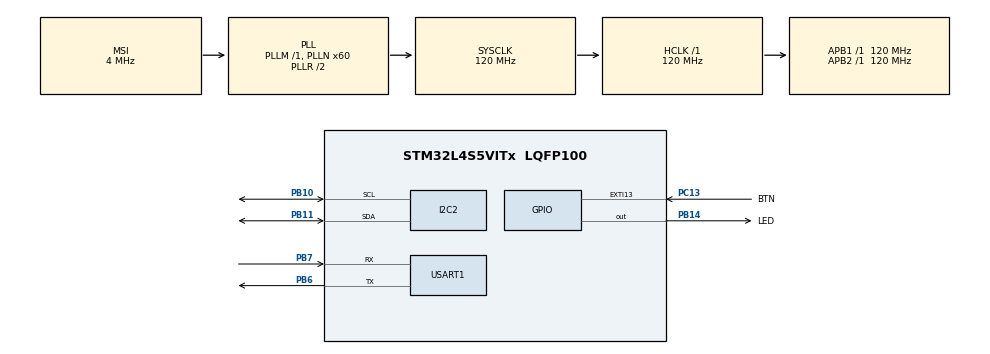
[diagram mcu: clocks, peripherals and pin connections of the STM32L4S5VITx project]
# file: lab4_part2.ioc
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FREERTOS.Tasks01=AlternateSensor,0,128,StartAlternateSensor,Default,NULL,Dynamic,NULL,NULL;TransmitData,-3,128,StartTransmitData,Default,NULL,Dynamic,NULL,NULL;ReadSensorData,-3,128,StartReadSensorData,Default,NULL,Dynamic,NULL,NULL
I2C2.Timing=0x30A175AB
Mcu.Family=STM32L4
Mcu.Name=STM32L4S5VITx
Mcu.Package=LQFP100
NVIC.EXTI15_10_IRQn=true\:5\:0\:false\:false\:true\:true\:true\:true\:true
NVIC.PriorityGroup=NVIC_PRIORITYGROUP_4
NVIC.TIM6_DAC_IRQn=true\:15\:0\:false\:false\:true\:false\:false\:true\:true
NVIC.TimeBase=TIM6_DAC_IRQn
NVIC.TimeBaseIP=TIM6
PB10.Mode=I2C
PB10.Signal=I2C2_SCL
PB11.Mode=I2C
PB11.Signal=I2C2_SDA
PB14.GPIO_Label=LED
PB14.Signal=GPIO_Output
PB6.Mode=Asynchronous
PB6.Signal=USART1_TX
PB7.Mode=Asynchronous
PB7.Signal=USART1_RX
PC13.GPIO_Label=BTN
PC13.Signal=GPXTI13
ProjectManager.HeapSize=0x200
ProjectManager.StackSize=0x400
ProjectManager.TargetToolchain=STM32CubeIDE
RCC.ADCFreq_Value=48000000
RCC.AHBFreq_Value=120000000
RCC.APB1Freq_Value=120000000
RCC.APB1TimFreq_Value=120000000
RCC.APB2Freq_Value=120000000
RCC.APB2TimFreq_Value=120000000
RCC.CortexFreq_Value=120000000
RCC.HCLKFreq_Value=120000000
RCC.HSE_VALUE=8000000
RCC.HSI48_VALUE=48000000
RCC.HSI_VALUE=16000000
RCC.LSE_VALUE=32768
RCC.MSI_VALUE=4000000
RCC.PLLN=60
RCC.PLLSAI1N=24
RCC.SYSCLKFreq_VALUE=120000000
RCC.SYSCLKSource=RCC_SYSCLKSOURCE_PLLCLK
RCC.USBFreq_Value=48000000
RCC.VCOOutputFreq_Value=240000000
USART1.VirtualMode-Asynchronous=VM_ASYNC
VP_FREERTOS_VS_CMSIS_V1.Mode=CMSIS_V1
VP_SYS_VS_tim6.Mode=TIM6
board=B-L4S5I-IOT01A

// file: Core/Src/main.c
/* USER CODE BEGIN Header */
/**
  ******************************************************************************
  * @file           : main.c
  * @brief          : Main program body
  ******************************************************************************
  * @attention
  *
  * Copyright (c) 2025 STMicroelectronics.
  * All rights reserved.
  *
  * This software is licensed under terms that can be found in the LICENSE file
  * in the root directory of this software component.
  * If no LICENSE file comes with this software, it is provided AS-IS.
  *
  ******************************************************************************
  */
/* USER CODE END Header */
#include "main.h"
#include "cmsis_os.h"

/* USER CODE BEGIN Includes */
#include "stm32l4s5i_iot01_hsensor.h"
#include "stm32l4s5i_iot01_magneto.h"
#include "stm32l4s5i_iot01_psensor.h"
#include "stm32l4s5i_iot01_accelero.h"
#include <stdio.h>
#include <string.h>
/* USER CODE END Includes */

/* USER CODE BEGIN PD */
#define ERRNO 1

/* USER CODE END PD */

I2C_HandleTypeDef hi2c2;

UART_HandleTypeDef huart1;

osThreadId AlternateSensorHandle;
osThreadId TransmitDataHandle;
osThreadId ReadSensorDataHandle;
/* USER CODE BEGIN PV */
char buffer[100];
int16_t magnetoXYZ[3];
int16_t acceleroXYZ[3];
volatile uint8_t sensorIndex = 0;

/* USER CODE END PV */

void SystemClock_Config(void);
static void MX_GPIO_Init(void);
static void MX_I2C2_Init(void);
static void MX_USART1_UART_Init(void);
void StartAlternateSensor(void const * argument);
void StartTransmitData(void const * argument);
void StartReadSensorData(void const * argument);

/* USER CODE BEGIN 0 */

//void HAL_GPIO_EXTI_Callback(uint16_t GPIO_Pin) {
//	if (GPIO_Pin != BTN_Pin) {
//		__NOP();
//	}
//
//	sensorIndex = (sensorIndex + 1) % 4;
//}

/* USER CODE END 0 */

int main(void)
{

  /* MCU Configuration--------------------------------------------------------*/

  /* Reset of all peripherals, Initializes the Flash interface and the Systick. */
  HAL_Init();

  /* Configure the system clock */
  SystemClock_Config();

  /* Initialize all configured peripherals */
  MX_GPIO_Init();
  MX_I2C2_Init();
  MX_USART1_UART_Init();
  /* USER CODE BEGIN 2 */
  if (BSP_HSENSOR_Init() != 0)  return ERRNO;

  if (BSP_MAGNETO_Init() != 0)  return ERRNO;

  if (BSP_PSENSOR_Init() != 0)  return ERRNO;

  if (BSP_ACCELERO_Init() != 0) return ERRNO;

//  HAL_TIM_Base_Start_IT(&htim2);
  /* USER CODE END 2 */

  /* Create the thread(s) */
  /* definition and creation of AlternateSensor */
  osThreadDef(AlternateSensor, StartAlternateSensor, osPriorityNormal, 0, 128);
  AlternateSensorHandle = osThreadCreate(osThread(AlternateSensor), NULL);

  /* definition and creation of TransmitData */
  osThreadDef(TransmitData, StartTransmitData, osPriorityIdle, 0, 128);
  TransmitDataHandle = osThreadCreate(osThread(TransmitData), NULL);

  /* definition and creation of ReadSensorData */
  osThreadDef(ReadSensorData, StartReadSensorData, osPriorityIdle, 0, 128);
  ReadSensorDataHandle = osThreadCreate(osThread(ReadSensorData), NULL);

  /* Start scheduler */
  osKernelStart();

  /* We should never get here as control is now taken by the scheduler */

  /* Infinite loop */
  while (1)
  {

  }
}

void SystemClock_Config(void)
{
  RCC_OscInitTypeDef RCC_OscInitStruct = {0};
  RCC_ClkInitTypeDef RCC_ClkInitStruct = {0};

  /** Configure the main internal regulator output voltage
  */
  if (HAL_PWREx_ControlVoltageScaling(PWR_REGULATOR_VOLTAGE_SCALE1_BOOST) != HAL_OK)
  {
    Error_Handler();
  }

  /** Initializes the RCC Oscillators according to the specified parameters
  * in the RCC_OscInitTypeDef structure.
  */
  RCC_OscInitStruct.OscillatorType = RCC_OSCILLATORTYPE_MSI;
  RCC_OscInitStruct.MSIState = RCC_MSI_ON;
  RCC_OscInitStruct.MSICalibrationValue = 0;
  RCC_OscInitStruct.MSIClockRange = RCC_MSIRANGE_6;
  RCC_OscInitStruct.PLL.PLLState = RCC_PLL_ON;
  RCC_OscInitStruct.PLL.PLLSource = RCC_PLLSOURCE_MSI;
  RCC_OscInitStruct.PLL.PLLM = 1;
  RCC_OscInitStruct.PLL.PLLN = 60;
  RCC_OscInitStruct.PLL.PLLP = RCC_PLLP_DIV2;
  RCC_OscInitStruct.PLL.PLLQ = RCC_PLLQ_DIV2;
  RCC_OscInitStruct.PLL.PLLR = RCC_PLLR_DIV2;
  if (HAL_RCC_OscConfig(&RCC_OscInitStruct) != HAL_OK)
  {
    Error_Handler();
  }

  /** Initializes the CPU, AHB and APB buses clocks
  */
  RCC_ClkInitStruct.ClockType = RCC_CLOCKTYPE_HCLK|RCC_CLOCKTYPE_SYSCLK
                              |RCC_CLOCKTYPE_PCLK1|RCC_CLOCKTYPE_PCLK2;
  RCC_ClkInitStruct.SYSCLKSource = RCC_SYSCLKSOURCE_PLLCLK;
  RCC_ClkInitStruct.AHBCLKDivider = RCC_SYSCLK_DIV1;
  RCC_ClkInitStruct.APB1CLKDivider = RCC_HCLK_DIV1;
  RCC_ClkInitStruct.APB2CLKDivider = RCC_HCLK_DIV1;

  if (HAL_RCC_ClockConfig(&RCC_ClkInitStruct, FLASH_LATENCY_5) != HAL_OK)
  {
    Error_Handler();
  }
}

static void MX_I2C2_Init(void)
{

  hi2c2.Instance = I2C2;
  hi2c2.Init.Timing = 0x30A175AB;
  hi2c2.Init.OwnAddress1 = 0;
  hi2c2.Init.AddressingMode = I2C_ADDRESSINGMODE_7BIT;
  hi2c2.Init.DualAddressMode = I2C_DUALADDRESS_DISABLE;
  hi2c2.Init.OwnAddress2 = 0;
  hi2c2.Init.OwnAddress2Masks = I2C_OA2_NOMASK;
  hi2c2.Init.GeneralCallMode = I2C_GENERALCALL_DISABLE;
  hi2c2.Init.NoStretchMode = I2C_NOSTRETCH_DISABLE;
  if (HAL_I2C_Init(&hi2c2) != HAL_OK)
  {
    Error_Handler();
  }

  /** Configure Analogue filter
  */
  if (HAL_I2CEx_ConfigAnalogFilter(&hi2c2, I2C_ANALOGFILTER_ENABLE) != HAL_OK)
  {
    Error_Handler();
  }

  /** Configure Digital filter
  */
  if (HAL_I2CEx_ConfigDigitalFilter(&hi2c2, 0) != HAL_OK)
  {
    Error_Handler();
  }

}

static void MX_USART1_UART_Init(void)
{

  huart1.Instance = USART1;
  huart1.Init.BaudRate = 115200;
  huart1.Init.WordLength = UART_WORDLENGTH_8B;
  huart1.Init.StopBits = UART_STOPBITS_1;
  huart1.Init.Parity = UART_PARITY_NONE;
  huart1.Init.Mode = UART_MODE_TX_RX;
  huart1.Init.HwFlowCtl = UART_HWCONTROL_NONE;
  huart1.Init.OverSampling = UART_OVERSAMPLING_16;
  huart1.Init.OneBitSampling = UART_ONE_BIT_SAMPLE_DISABLE;
  huart1.Init.ClockPrescaler = UART_PRESCALER_DIV1;
  huart1.AdvancedInit.AdvFeatureInit = UART_ADVFEATURE_NO_INIT;
  if (HAL_UART_Init(&huart1) != HAL_OK)
  {
    Error_Handler();
  }
  if (HAL_UARTEx_SetTxFifoThreshold(&huart1, UART_TXFIFO_THRESHOLD_1_8) != HAL_OK)
  {
    Error_Handler();
  }
  if (HAL_UARTEx_SetRxFifoThreshold(&huart1, UART_RXFIFO_THRESHOLD_1_8) != HAL_OK)
  {
    Error_Handler();
  }
  if (HAL_UARTEx_DisableFifoMode(&huart1) != HAL_OK)
  {
    Error_Handler();
  }

}

static void MX_GPIO_Init(void)
{
  GPIO_InitTypeDef GPIO_InitStruct = {0};

  /* GPIO Ports Clock Enable */
  __HAL_RCC_GPIOC_CLK_ENABLE();
  __HAL_RCC_GPIOB_CLK_ENABLE();

  /*Configure GPIO pin Output Level */
  HAL_GPIO_WritePin(LED_GPIO_Port, LED_Pin, GPIO_PIN_RESET);

  /*Configure GPIO pin : BTN_Pin */
  GPIO_InitStruct.Pin = BTN_Pin;
  GPIO_InitStruct.Mode = GPIO_MODE_IT_RISING;
  GPIO_InitStruct.Pull = GPIO_NOPULL;
  HAL_GPIO_Init(BTN_GPIO_Port, &GPIO_InitStruct);

  /*Configure GPIO pin : LED_Pin */
  GPIO_InitStruct.Pin = LED_Pin;
  GPIO_InitStruct.Mode = GPIO_MODE_OUTPUT_PP;
  GPIO_InitStruct.Pull = GPIO_NOPULL;
  GPIO_InitStruct.Speed = GPIO_SPEED_FREQ_LOW;
  HAL_GPIO_Init(LED_GPIO_Port, &GPIO_InitStruct);

  /* EXTI interrupt init*/
  HAL_NVIC_SetPriority(EXTI15_10_IRQn, 5, 0);
  HAL_NVIC_EnableIRQ(EXTI15_10_IRQn);

}

void StartAlternateSensor(void const * argument)
{
  /* USER CODE BEGIN 5 */
  /* Infinite loop */
  for(;;)
  {
	  osDelay(250);
	  // large delay to make sure sensorIndex does not change in the middle of
	  // a thread where you're reading sensor data or writing to UART
	  // prolly should use mutexes?? to lock
	  if (HAL_GPIO_ReadPin(BTN_GPIO_Port, BTN_Pin) == GPIO_PIN_SET) {
		  sensorIndex = (sensorIndex + 1) % 4;
		  while (HAL_GPIO_ReadPin(BTN_GPIO_Port, BTN_Pin) == GPIO_PIN_SET) {
			  osDelay(100);
		  }
	  }
  }
  osThreadTerminate(NULL);
  /* USER CODE END 5 */
}

void StartTransmitData(void const * argument)
{
  /* USER CODE BEGIN StartTransmitData */
  /* Infinite loop */
  for(;;)
  {
    osDelay(100);
    HAL_UART_Transmit(&huart1, (uint8_t*)buffer, strlen(buffer), 100);
  }
  /* USER CODE END StartTransmitData */
}

void StartReadSensorData(void const * argument)
{
  /* USER CODE BEGIN StartReadSensorData */
  /* Infinite loop */
  for(;;)
  {
    osDelay(100);
	switch (sensorIndex) {
	case 0:
		sprintf(buffer, "humidity: %d\r\n", (int)BSP_HSENSOR_ReadHumidity());
		break;

	case 1:
		BSP_MAGNETO_GetXYZ(magnetoXYZ);
		sprintf(buffer, "magnetometer: X:%d, Y:%d, Z:%d\r\n", magnetoXYZ[0], magnetoXYZ[1], magnetoXYZ[2]);
		break;

	case 2:
		sprintf(buffer, "pressure: %d\r\n", (int)BSP_PSENSOR_ReadPressure());
		break;

	case 3:
		BSP_ACCELERO_AccGetXYZ(acceleroXYZ);
		sprintf(buffer, "accelerometer: X:%d, Y:%d, Z:%d\r\n", acceleroXYZ[0], acceleroXYZ[1], acceleroXYZ[2]);
		break;
	}
  }
  osThreadTerminate(NULL);
  /* USER CODE END StartReadSensorData */
}

void HAL_TIM_PeriodElapsedCallback(TIM_HandleTypeDef *htim)
{
  if (htim->Instance == TIM6) {
    HAL_IncTick();
  }
}

void Error_Handler(void)
{
  __disable_irq();
  while (1)
  {
  }
}
